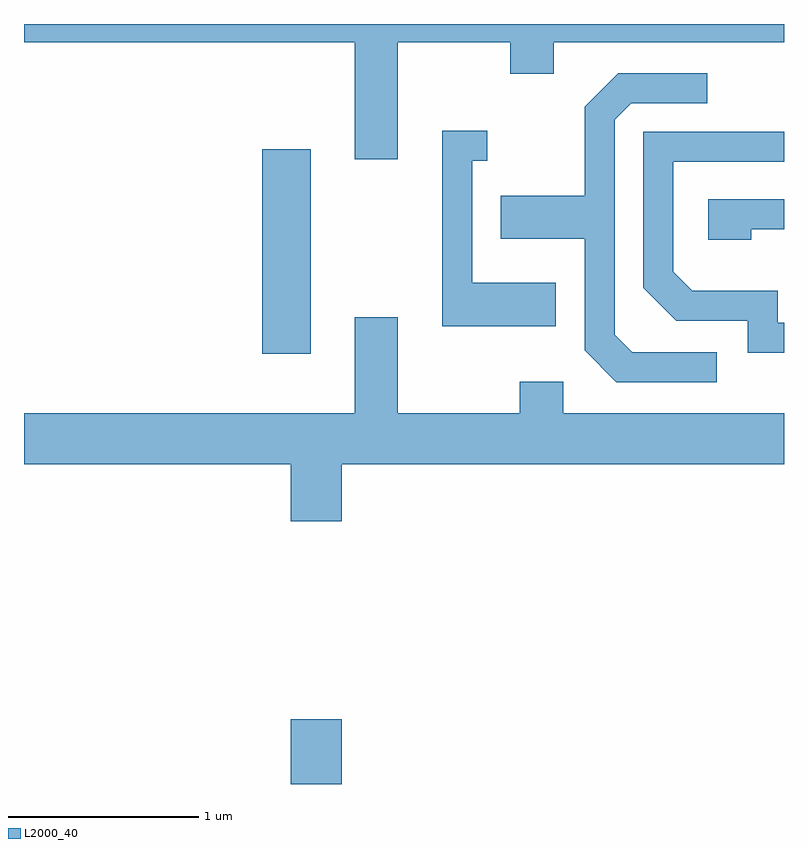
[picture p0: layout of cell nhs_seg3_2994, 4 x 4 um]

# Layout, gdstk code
import gdstk
lib = gdstk.Library(unit=1e-6, precision=1e-09)
def R(c, l, rs):  # rectangles x0, y0, x1, y1
    for r in rs: c.add(gdstk.rectangle(r[:2], r[2:], *l))
def P(c, l, *ps):  # polygons
    for p in ps: c.add(gdstk.Polygon(p, *l))
L2000_40 = (2000, 40)

nhs_seg3_2994 = lib.new_cell('nhs_seg3_2994')
R(nhs_seg3_2994, L2000_40, [(275.016,1119.892,275.284,1120.234), (274.866,1122.156,275.119,1123.234)])
P(nhs_seg3_2994, L2000_40, [(275.579,1123.796),(276.171,1123.796),(276.171,1123.631),(276.399,1123.631),(276.399,1123.796),(277.611,1123.796),(277.611,1123.892),(273.611,1123.892),(273.611,1123.796),(275.351,1123.796),(275.351,1123.181),(275.579,1123.181)],
  [(277.258,1122.164),(276.812,1122.164),(276.719,1122.257),(276.719,1123.389),(276.807,1123.476),(277.208,1123.476),(277.208,1123.634),(276.739,1123.634),(276.561,1123.457),(276.561,1122.989),(276.121,1122.989),(276.121,1122.761),(276.561,1122.761),(276.561,1122.174),(276.729,1122.006),(277.258,1122.006)],
  [(276.409,1122.529),(275.969,1122.529),(275.969,1123.171),(276.048,1123.171),(276.048,1123.329),(275.811,1123.329),(275.811,1122.301),(276.409,1122.301)],
  [(277.611,1122.319),(277.579,1122.319),(277.579,1122.489),(277.127,1122.489),(277.029,1122.587),(277.029,1123.166),(277.611,1123.166),(277.611,1123.324),(276.871,1123.324),(276.871,1122.504),(277.044,1122.331),(277.421,1122.331),(277.421,1122.161),(277.611,1122.161)],
  [(277.439,1122.811),(277.611,1122.811),(277.611,1122.969),(277.211,1122.969),(277.211,1122.756),(277.439,1122.756)],
  [(275.284,1121.576),(277.611,1121.576),(277.611,1121.844),(276.449,1121.844),(276.449,1122.009),(276.221,1122.009),(276.221,1121.844),(275.579,1121.844),(275.579,1122.349),(275.351,1122.349),(275.351,1121.844),(273.611,1121.844),(273.611,1121.576),(275.016,1121.576),(275.016,1121.276),(275.284,1121.276)])

lib.write_gds('nhs_seg3_2994.gds')
